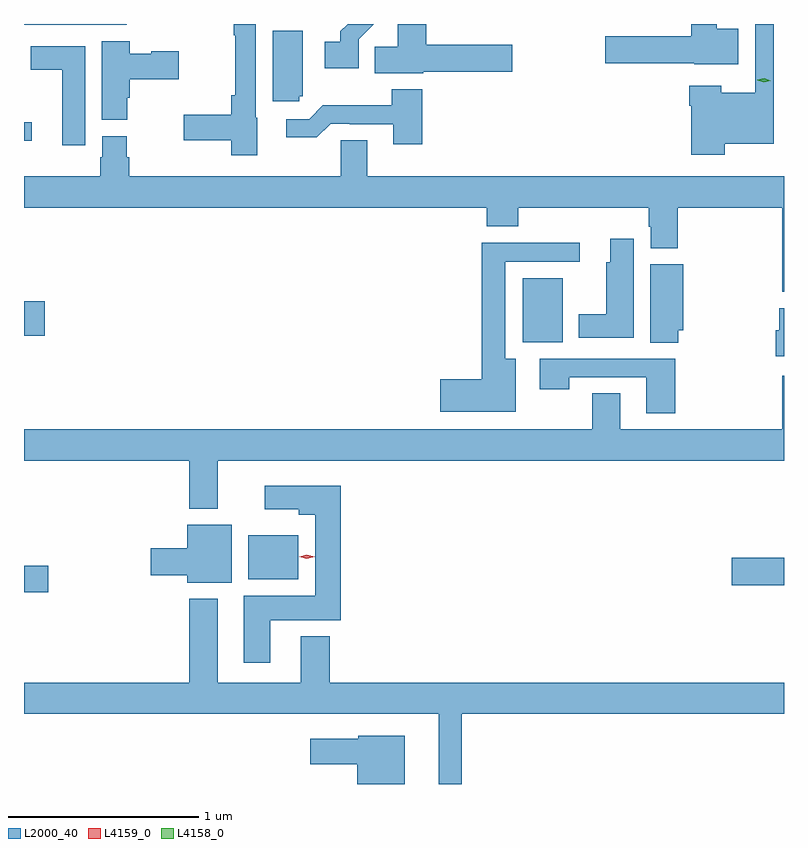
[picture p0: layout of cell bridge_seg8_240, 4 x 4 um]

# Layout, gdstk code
import gdstk
lib = gdstk.Library(unit=1e-6, precision=1e-09)
def R(c, l, rs):  # rectangles x0, y0, x1, y1
    for r in rs: c.add(gdstk.rectangle(r[:2], r[2:], *l))
def P(c, l, *ps):  # polygons
    for p in ps: c.add(gdstk.Polygon(p, *l))
L2000_40 = (2000, 40)
L4158_0 = (4158, 0)
L4159_0 = (4159, 0)

bridge_seg8_240 = lib.new_cell('bridge_seg8_240')
R(bridge_seg8_240, L2000_40, [(286.818,1125.13,286.945,1125.272), (290.544,1125.167,290.818,1125.314), (287.999,1125.2,288.262,1125.43), (289.442,1126.448,289.654,1126.783), (286.818,1126.481,286.927,1126.664), (286.818,1127.507,286.858,1127.604), (286.818,1128.117,287.36,1128.122)])
P(bridge_seg8_240, L2000_40, [(290.578,1128.097),(290.464,1128.097),(290.464,1128.122),(290.33,1128.122),(290.33,1128.057),(289.878,1128.057),(289.878,1127.915),(290.346,1127.915),(290.346,1127.909),(290.578,1127.909)],
  [(288.918,1127.87),(289.387,1127.87),(289.387,1128.012),(288.935,1128.012),(288.935,1128.122),(288.785,1128.122),(288.785,1128.002),(288.664,1128.002),(288.664,1127.864),(288.918,1127.864)],
  [(288.046,1127.628),(288.039,1127.628),(288.039,1128.122),(287.923,1128.122),(287.923,1128.064),(287.931,1128.064),(287.931,1127.746),(287.91,1127.746),(287.91,1127.645),(287.658,1127.645),(287.658,1127.51),(287.91,1127.51),(287.91,1127.432),(288.046,1127.432)],
  [(288.579,1128.043),(288.658,1128.122),(288.521,1128.122),(288.482,1128.083),(288.482,1128.028),(288.402,1128.028),(288.402,1127.888),(288.579,1127.888)],
  [(290.505,1127.492),(290.764,1127.492),(290.764,1128.122),(290.667,1128.122),(290.667,1127.761),(290.488,1127.761),(290.488,1127.797),(290.318,1127.797),(290.318,1127.693),(290.33,1127.693),(290.33,1127.435),(290.505,1127.435)],
  [(288.267,1127.742),(288.286,1127.742),(288.286,1128.086),(288.128,1128.086),(288.128,1127.715),(288.267,1127.715)],
  [(287.362,1127.735),(287.375,1127.735),(287.375,1127.831),(287.632,1127.831),(287.632,1127.978),(287.489,1127.978),(287.489,1127.965),(287.375,1127.965),(287.375,1128.032),(287.228,1128.032),(287.228,1127.617),(287.362,1127.617)],
  [(287.14,1128.004),(286.853,1128.004),(286.853,1127.882),(287.018,1127.882),(287.018,1127.484),(287.14,1127.484)],
  [(288.914,1127.779),(288.754,1127.779),(288.754,1127.695),(288.391,1127.695),(288.318,1127.622),(288.198,1127.622),(288.198,1127.525),(288.359,1127.525),(288.432,1127.598),(288.532,1127.598),(288.532,1127.595),(288.761,1127.595),(288.761,1127.49),(288.914,1127.49)],
  [(288.625,1127.51),(288.486,1127.51),(288.486,1127.32),(287.372,1127.32),(287.372,1127.421),(287.359,1127.421),(287.359,1127.532),(287.231,1127.532),(287.231,1127.421),(287.219,1127.421),(287.219,1127.32),(286.818,1127.32),(286.818,1127.156),(289.253,1127.156),(289.253,1127.057),(289.418,1127.057),(289.418,1127.156),(290.105,1127.156),(290.105,1127.055),(290.117,1127.055),(290.117,1126.943),(290.258,1126.943),(290.258,1127.156),(290.808,1127.156),(290.808,1126.712),(290.818,1126.712),(290.818,1127.32),(288.625,1127.32)],
  [(290.026,1126.993),(289.904,1126.993),(289.904,1126.869),(289.883,1126.869),(289.883,1126.594),(289.739,1126.594),(289.739,1126.472),(290.026,1126.472)],
  [(289.405,1126.36),(289.351,1126.36),(289.351,1126.872),(289.744,1126.872),(289.744,1126.97),(289.226,1126.97),(289.226,1126.253),(289.008,1126.253),(289.008,1126.082),(289.405,1126.082)],
  [(290.261,1126.511),(290.287,1126.511),(290.287,1126.858),(290.114,1126.858),(290.114,1126.444),(290.261,1126.444)],
  [(290.818,1126.627),(290.792,1126.627),(290.792,1126.509),(290.774,1126.509),(290.774,1126.373),(290.818,1126.373)],
  [(290.246,1126.359),(289.533,1126.359),(289.533,1126.2),(289.689,1126.2),(289.689,1126.263),(290.093,1126.263),(290.093,1126.074),(290.246,1126.074)],
  [(287.839,1125.824),(290.818,1125.824),(290.818,1126.27),(290.808,1126.27),(290.808,1125.988),(289.957,1125.988),(289.957,1126.178),(289.81,1126.178),(289.81,1125.988),(286.818,1125.988),(286.818,1125.824),(287.687,1125.824),(287.687,1125.572),(287.839,1125.572)],
  [(288.115,1124.984),(288.485,1124.984),(288.485,1125.691),(288.084,1125.691),(288.084,1125.569),(288.263,1125.569),(288.263,1125.539),(288.35,1125.539),(288.35,1125.112),(287.975,1125.112),(287.975,1124.76),(288.115,1124.76)],
  [(287.911,1125.487),(287.678,1125.487),(287.678,1125.363),(287.484,1125.363),(287.484,1125.221),(287.678,1125.221),(287.678,1125.182),(287.911,1125.182)],
  [(289.001,1124.122),(289.123,1124.122),(289.123,1124.492),(290.818,1124.492),(290.818,1124.656),(288.428,1124.656),(288.428,1124.899),(288.275,1124.899),(288.275,1124.656),(287.839,1124.656),(287.839,1125.097),(287.687,1125.097),(287.687,1124.656),(286.818,1124.656),(286.818,1124.492),(289.001,1124.492)],
  [(288.823,1124.377),(288.576,1124.377),(288.576,1124.359),(288.324,1124.359),(288.324,1124.225),(288.572,1124.225),(288.572,1124.122),(288.823,1124.122)])
P(bridge_seg8_240, L4158_0, [(290.712,1127.816),(290.678,1127.827),(290.677,1127.827),(290.678,1127.828),(290.713,1127.836),(290.748,1127.824),(290.749,1127.824),(290.748,1127.824)])
P(bridge_seg8_240, L4159_0, [(288.307,1125.308),(288.266,1125.318),(288.266,1125.318),(288.266,1125.318),(288.307,1125.328),(288.347,1125.317),(288.348,1125.317),(288.347,1125.317)])

lib.write_gds('bridge_seg8_240.gds')
